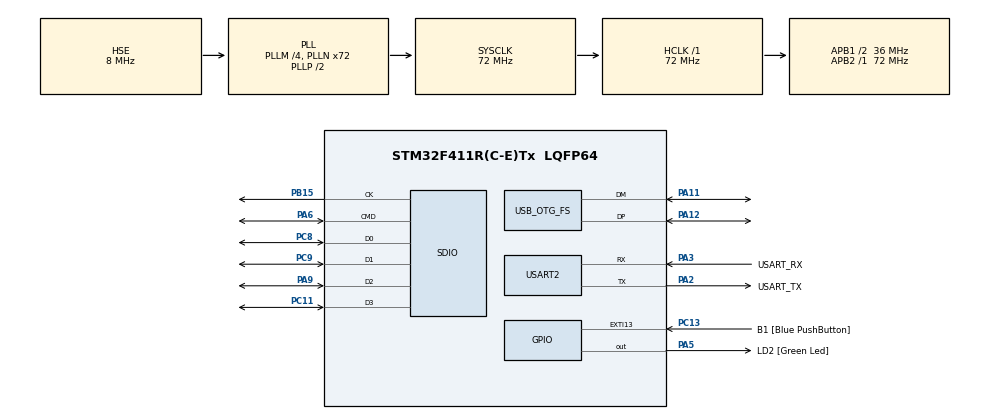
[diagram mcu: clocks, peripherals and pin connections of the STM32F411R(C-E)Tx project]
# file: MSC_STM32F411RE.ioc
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Dma.Request0=USART2_RX
Dma.Request1=USART2_TX
Dma.Request2=SDIO_RX
Dma.Request3=SDIO_TX
Dma.SDIO_RX.2.Direction=DMA_PERIPH_TO_MEMORY
Dma.SDIO_RX.2.FIFOMode=DMA_FIFOMODE_ENABLE
Dma.SDIO_RX.2.FIFOThreshold=DMA_FIFO_THRESHOLD_FULL
Dma.SDIO_RX.2.Instance=DMA2_Stream3
Dma.SDIO_RX.2.MemBurst=DMA_MBURST_INC4
Dma.SDIO_RX.2.MemDataAlignment=DMA_MDATAALIGN_WORD
Dma.SDIO_RX.2.MemInc=DMA_MINC_ENABLE
Dma.SDIO_RX.2.Mode=DMA_PFCTRL
Dma.SDIO_RX.2.PeriphBurst=DMA_PBURST_INC4
Dma.SDIO_RX.2.PeriphDataAlignment=DMA_PDATAALIGN_WORD
Dma.SDIO_RX.2.PeriphInc=DMA_PINC_DISABLE
Dma.SDIO_RX.2.Priority=DMA_PRIORITY_VERY_HIGH
Dma.SDIO_TX.3.Direction=DMA_MEMORY_TO_PERIPH
Dma.SDIO_TX.3.FIFOMode=DMA_FIFOMODE_ENABLE
Dma.SDIO_TX.3.FIFOThreshold=DMA_FIFO_THRESHOLD_FULL
Dma.SDIO_TX.3.Instance=DMA2_Stream6
Dma.SDIO_TX.3.MemBurst=DMA_MBURST_INC4
Dma.SDIO_TX.3.MemDataAlignment=DMA_MDATAALIGN_WORD
Dma.SDIO_TX.3.MemInc=DMA_MINC_ENABLE
Dma.SDIO_TX.3.Mode=DMA_PFCTRL
Dma.SDIO_TX.3.PeriphBurst=DMA_PBURST_INC4
Dma.SDIO_TX.3.PeriphDataAlignment=DMA_PDATAALIGN_WORD
Dma.SDIO_TX.3.PeriphInc=DMA_PINC_DISABLE
Dma.SDIO_TX.3.Priority=DMA_PRIORITY_VERY_HIGH
Dma.USART2_RX.0.Direction=DMA_PERIPH_TO_MEMORY
Dma.USART2_RX.0.FIFOMode=DMA_FIFOMODE_DISABLE
Dma.USART2_RX.0.Instance=DMA1_Stream5
Dma.USART2_RX.0.MemDataAlignment=DMA_MDATAALIGN_BYTE
Dma.USART2_RX.0.MemInc=DMA_MINC_ENABLE
Dma.USART2_RX.0.Mode=DMA_CIRCULAR
Dma.USART2_RX.0.PeriphDataAlignment=DMA_PDATAALIGN_BYTE
Dma.USART2_RX.0.PeriphInc=DMA_PINC_DISABLE
Dma.USART2_RX.0.Priority=DMA_PRIORITY_LOW
Dma.USART2_TX.1.Direction=DMA_MEMORY_TO_PERIPH
Dma.USART2_TX.1.FIFOMode=DMA_FIFOMODE_DISABLE
Dma.USART2_TX.1.Instance=DMA1_Stream6
Dma.USART2_TX.1.MemDataAlignment=DMA_MDATAALIGN_BYTE
Dma.USART2_TX.1.MemInc=DMA_MINC_ENABLE
Dma.USART2_TX.1.Mode=DMA_NORMAL
Dma.USART2_TX.1.PeriphDataAlignment=DMA_PDATAALIGN_BYTE
Dma.USART2_TX.1.PeriphInc=DMA_PINC_DISABLE
Dma.USART2_TX.1.Priority=DMA_PRIORITY_LOW
Mcu.Family=STM32F4
Mcu.Name=STM32F411R(C-E)Tx
Mcu.Package=LQFP64
NVIC.DMA1_Stream5_IRQn=true\:0\:0\:false\:false\:true\:false\:true\:true
NVIC.DMA1_Stream6_IRQn=true\:0\:0\:false\:false\:true\:false\:true\:true
NVIC.DMA2_Stream3_IRQn=true\:0\:4\:false\:false\:true\:false\:true\:true
NVIC.DMA2_Stream6_IRQn=true\:0\:5\:false\:false\:true\:false\:true\:true
NVIC.EXTI15_10_IRQn=true\:0\:0\:false\:false\:true\:true\:true\:true
NVIC.OTG_FS_IRQn=true\:0\:6\:true\:false\:true\:true\:true\:true
NVIC.PriorityGroup=NVIC_PRIORITYGROUP_0
NVIC.SDIO_IRQn=true\:0\:3\:false\:false\:true\:true\:true\:true
NVIC.TIM1_TRG_COM_TIM11_IRQn=true\:0\:0\:false\:false\:true\:true\:true\:true
NVIC.USART2_IRQn=true\:0\:0\:false\:false\:true\:true\:true\:true
PA11.Mode=Device_Only
PA11.Signal=USB_OTG_FS_DM
PA12.Mode=Device_Only
PA12.Signal=USB_OTG_FS_DP
PA13.GPIO_Label=TMS
PA13.Mode=Serial_Wire
PA13.Signal=SYS_JTMS-SWDIO
PA14.GPIO_Label=TCK
PA14.Mode=Serial_Wire
PA14.Signal=SYS_JTCK-SWCLK
PA2.GPIO_Label=USART_TX
PA2.Mode=Asynchronous
PA2.Signal=USART2_TX
PA3.GPIO_Label=USART_RX
PA3.Mode=Asynchronous
PA3.Signal=USART2_RX
PA5.GPIO_Label=LD2 [Green Led]
PA5.Signal=GPIO_Output
PA6.Mode=SD_4_bits_Wide_bus
PA6.Signal=SDIO_CMD
PA9.Mode=SD_4_bits_Wide_bus
PA9.Signal=SDIO_D2
PB15.Mode=SD_4_bits_Wide_bus
PB15.Signal=SDIO_CK
PB3.GPIO_Label=SWO
PB3.Signal=SYS_JTDO-SWO
PC11.Mode=SD_4_bits_Wide_bus
PC11.Signal=SDIO_D3
PC13-ANTI_TAMP.GPIO_Label=B1 [Blue PushButton]
PC13-ANTI_TAMP.GPIO_ModeDefaultEXTI=GPIO_MODE_IT_FALLING
PC13-ANTI_TAMP.Signal=GPXTI13
PC14-OSC32_IN.Mode=LSE-External-Oscillator
PC14-OSC32_IN.Signal=RCC_OSC32_IN
PC15-OSC32_OUT.Mode=LSE-External-Oscillator
PC15-OSC32_OUT.Signal=RCC_OSC32_OUT
PC8.Mode=SD_4_bits_Wide_bus
PC8.Signal=SDIO_D0
PC9.Mode=SD_4_bits_Wide_bus
PC9.Signal=SDIO_D1
PH0\ -\ OSC_IN.Mode=HSE-External-Clock-Source
PH0\ -\ OSC_IN.Signal=RCC_OSC_IN
PH1\ -\ OSC_OUT.Mode=HSE-External-Clock-Source
PH1\ -\ OSC_OUT.Signal=RCC_OSC_OUT
ProjectManager.HeapSize=0x1000
ProjectManager.StackSize=0x1000
ProjectManager.TargetToolchain=STM32CubeIDE
RCC.48MHZClocksFreq_Value=48000000
RCC.AHBFreq_Value=72000000
RCC.APB1CLKDivider=RCC_HCLK_DIV2
RCC.APB1Freq_Value=36000000
RCC.APB1TimFreq_Value=72000000
RCC.APB2Freq_Value=72000000
RCC.APB2TimFreq_Value=72000000
RCC.CortexFreq_Value=72000000
RCC.FLatency-AdvancedSettings=FLASH_LATENCY_2
RCC.HCLKFreq_Value=72000000
RCC.HSE_VALUE=8000000
RCC.HSI_VALUE=16000000
RCC.PLLM=4
RCC.PLLN=72
RCC.PLLQ=3
RCC.SYSCLKFreq_VALUE=72000000
RCC.SYSCLKSource=RCC_SYSCLKSOURCE_PLLCLK
RCC.VCOOutputFreq_Value=144000000
SDIO.ClockDiv=20
SDIO.ClockPowerSave=SDIO_CLOCK_POWER_SAVE_DISABLE
SDIO.HardwareFlowControl=SDIO_HARDWARE_FLOW_CONTROL_DISABLE
TIM10.Channel=TIM_CHANNEL_1
TIM10.Prescaler=72-1
TIM11.Channel=TIM_CHANNEL_1
TIM11.Period=10000-1
TIM11.Prescaler=7200-1
USART2.VirtualMode=VM_ASYNC
USB_OTG_FS.VirtualMode=Device_Only
USB_OTG_FS.lpm_enable=DISABLE
VP_TIM10_VS_ClockSourceINT.Mode=Enable_Timer
VP_TIM10_VS_no_output1.Mode=Output Compare1 No Output
VP_TIM11_VS_ClockSourceINT.Mode=Enable_Timer
VP_TIM11_VS_no_output1.Mode=Output Compare1 No Output
board=NUCLEO-F411RE

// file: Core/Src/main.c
/* USER CODE BEGIN Header */
/**
 ******************************************************************************
 * @file           : main.c
 * @brief          : Main program body
 ******************************************************************************
 * @attention
 *
 * Copyright (c) 2025 STMicroelectronics.
 * All rights reserved.
 *
 * This software is licensed under terms that can be found in the LICENSE file
 * in the root directory of this software component.
 * If no LICENSE file comes with this software, it is provided AS-IS.
 *
 ******************************************************************************
 */
/* USER CODE END Header */
#include "main.h"

/* USER CODE BEGIN Includes */
#include <string.h>
#include <stdbool.h>
#include <stdio.h>

#include <tusb.h>
#include <buffer_event.h>
/* USER CODE END Includes */

SD_HandleTypeDef hsd;
DMA_HandleTypeDef hdma_sdio_rx;
DMA_HandleTypeDef hdma_sdio_tx;

TIM_HandleTypeDef htim10;
TIM_HandleTypeDef htim11;

UART_HandleTypeDef huart2;
DMA_HandleTypeDef hdma_usart2_rx;
DMA_HandleTypeDef hdma_usart2_tx;

PCD_HandleTypeDef hpcd_USB_OTG_FS;

/* USER CODE BEGIN PV */
#define WINDOW_ARR (5000 - 1)
#define LINUX_ARR (1000 - 1)
#define EMERG_ARR (500 - 1)

volatile uint8_t g_usb_mode = USB_MODE_MSC_VENDOR;
volatile bool usb_ready = true;

char msg_dma[512];

/* USER CODE END PV */

void SystemClock_Config(void);
static void MX_GPIO_Init(void);
static void MX_DMA_Init(void);
static void MX_USART2_UART_Init(void);
static void MX_USB_OTG_FS_PCD_Init(void);
static void MX_TIM11_Init(void);
static void MX_SDIO_SD_Init(void);
static void MX_TIM10_Init(void);
/* USER CODE BEGIN PFP */
extern void init_disk_data();
/* USER CODE END PFP */

/* USER CODE BEGIN 0 */

int _write(int file, char *ptr, int len) {
	(void) file;
	HAL_UART_Transmit(&huart2, (uint8_t*) ptr, len, HAL_MAX_DELAY);
	return len;
}

void HAL_TIM_OC_DelayElapsedCallback(TIM_HandleTypeDef *htim) {
	if (usb_ready) {
		HAL_GPIO_TogglePin(GPIOA, GPIO_PIN_5);
	}
}

void HAL_GPIO_EXTI_Callback(uint16_t GPIO_Pin) {
	usb_ready = false;

	switch (g_usb_mode) {
	case USB_MODE_CDC:
		__HAL_TIM_SET_AUTORELOAD(&htim11, LINUX_ARR);
		g_usb_mode = USB_MODE_MSC_VENDOR;
		break;
	case USB_MODE_MSC_VENDOR:
		__HAL_TIM_SET_AUTORELOAD(&htim11, WINDOW_ARR);
		g_usb_mode = USB_MODE_HID_MSC;
		break;
	case USB_MODE_HID_MSC:
		__HAL_TIM_SET_AUTORELOAD(&htim11, EMERG_ARR);
		g_usb_mode = USB_MODE_CDC;
		break;
	}
}

void mod_change_watchdog() {
	if (!usb_ready) {
		tud_disconnect();
		HAL_Delay(500);
		tud_connect();

		usb_ready = true;
	}
}

void cdc_task(void) {
	// 2. PC와 연결되어 있는지 확인 (DTR 신호 체크)
	if (tud_cdc_connected()) {
		// 3. 읽을 데이터가 있는지 확인
		if (tud_cdc_available()) {
			// 데이터 읽기
			uint32_t count = tud_cdc_read(msg_dma, sizeof(msg_dma));

			HAL_UART_Transmit_DMA(&huart2, (uint8_t*) msg_dma, count);
		}
	}
}

void Test_func(void){
	printf("This is test_func\n");

	ven_send();
	return;
}

// full or half -> callback -> buffer fill twice
#define BUF_SIZE 1024

uint8_t is_fulled = 0;
uint8_t is_halfed = 0;

uint8_t recv_buf[BUF_SIZE] = {0};
uint8_t recv_val[BUF_SIZE] = {0};
uint16_t uart_h = 0;

void HAL_UARTEx_RxEventCallback(UART_HandleTypeDef *huart, uint16_t Size)
{
    // Size는 buf 0부터 현재까지 수신된 데이터의 개수
	if(!is_halfed && (Size == BUF_SIZE/2)){
		is_halfed = 1;
		return;
	}

	if(!is_fulled && (Size == BUF_SIZE)){
		is_fulled = 1;
		return;
	}

	is_halfed = 0;
	is_fulled = 0;

	memset(recv_val, 0, BUF_SIZE);
	uint16_t tmp = 0;

	printf("1: %d-%d %s\n", Size, uart_h, recv_val);

	if(Size < uart_h){ // ring buffer overwrite
		while(uart_h < BUF_SIZE){
			recv_val[tmp++] = recv_buf[uart_h++];
		}
		uart_h = 0;
	}

	while(uart_h < Size){
		recv_val[tmp++] = recv_buf[uart_h++];
	}
	recv_val[tmp] = '\0';

	printf("2: %d-%d %s\n", Size, uart_h, recv_val);
	if(g_usb_mode == USB_MODE_CDC){
		tud_cdc_write(recv_val, sizeof(recv_val));
	}
}

void test_watchdog(void){
	if(recv_val[0] == 't'){
		Test_func();
		recv_val[0] = '\0';
	}
}
/* USER CODE END 0 */

int main(void)
{

  /* MCU Configuration--------------------------------------------------------*/

  /* Reset of all peripherals, Initializes the Flash interface and the Systick. */
  HAL_Init();

  /* Configure the system clock */
  SystemClock_Config();

  /* Initialize all configured peripherals */
  MX_GPIO_Init();
  MX_DMA_Init();
  MX_USART2_UART_Init();
  MX_USB_OTG_FS_PCD_Init();
  MX_TIM11_Init();
  MX_SDIO_SD_Init();
  MX_TIM10_Init();
  /* USER CODE BEGIN 2 */
	SD_Init();
#ifndef WITHOUT_TUD
	tusb_init();
//	init_disk_data();
#endif // WITHOUT_TUD
	HAL_TIM_OC_Start(&htim10, TIM_CHANNEL_1);
	HAL_TIM_OC_Start_IT(&htim11, TIM_CHANNEL_1);
	HAL_UARTEx_ReceiveToIdle_DMA(&huart2, recv_buf, BUF_SIZE);

	g_usb_mode = USB_MODE_MSC_VENDOR;
	__HAL_TIM_SET_AUTORELOAD(&htim11, LINUX_ARR);
//	SD_Test();
  /* USER CODE END 2 */

  /* Infinite loop */
  /* USER CODE BEGIN WHILE */
	while (1) {
#ifndef WITHOUT_TUD
		tud_task();
#endif // WITHOUT_TUD
		mod_change_watchdog();
		test_watchdog();

		switch (g_usb_mode) {
		case USB_MODE_CDC:
			cdc_task();
			break;
		case USB_MODE_MSC_VENDOR:
			break;
		case USB_MODE_HID_MSC:
//			hid_task();
			break;
		}
		// 3연속의 while 구조?
    /* USER CODE END WHILE */

	}
}

void SystemClock_Config(void)
{
  RCC_OscInitTypeDef RCC_OscInitStruct = {0};
  RCC_ClkInitTypeDef RCC_ClkInitStruct = {0};

  /** Configure the main internal regulator output voltage
  */
  __HAL_RCC_PWR_CLK_ENABLE();
  __HAL_PWR_VOLTAGESCALING_CONFIG(PWR_REGULATOR_VOLTAGE_SCALE1);

  /** Initializes the RCC Oscillators according to the specified parameters
  * in the RCC_OscInitTypeDef structure.
  */
  RCC_OscInitStruct.OscillatorType = RCC_OSCILLATORTYPE_HSE;
  RCC_OscInitStruct.HSEState = RCC_HSE_BYPASS;
  RCC_OscInitStruct.PLL.PLLState = RCC_PLL_ON;
  RCC_OscInitStruct.PLL.PLLSource = RCC_PLLSOURCE_HSE;
  RCC_OscInitStruct.PLL.PLLM = 4;
  RCC_OscInitStruct.PLL.PLLN = 72;
  RCC_OscInitStruct.PLL.PLLP = RCC_PLLP_DIV2;
  RCC_OscInitStruct.PLL.PLLQ = 3;
  if (HAL_RCC_OscConfig(&RCC_OscInitStruct) != HAL_OK)
  {
    Error_Handler();
  }

  /** Initializes the CPU, AHB and APB buses clocks
  */
  RCC_ClkInitStruct.ClockType = RCC_CLOCKTYPE_HCLK|RCC_CLOCKTYPE_SYSCLK
                              |RCC_CLOCKTYPE_PCLK1|RCC_CLOCKTYPE_PCLK2;
  RCC_ClkInitStruct.SYSCLKSource = RCC_SYSCLKSOURCE_PLLCLK;
  RCC_ClkInitStruct.AHBCLKDivider = RCC_SYSCLK_DIV1;
  RCC_ClkInitStruct.APB1CLKDivider = RCC_HCLK_DIV2;
  RCC_ClkInitStruct.APB2CLKDivider = RCC_HCLK_DIV1;

  if (HAL_RCC_ClockConfig(&RCC_ClkInitStruct, FLASH_LATENCY_2) != HAL_OK)
  {
    Error_Handler();
  }
}

static void MX_SDIO_SD_Init(void)
{

  hsd.Instance = SDIO;
  hsd.Init.ClockEdge = SDIO_CLOCK_EDGE_RISING;
  hsd.Init.ClockBypass = SDIO_CLOCK_BYPASS_DISABLE;
  hsd.Init.ClockPowerSave = SDIO_CLOCK_POWER_SAVE_DISABLE;
  hsd.Init.BusWide = SDIO_BUS_WIDE_1B;
  hsd.Init.HardwareFlowControl = SDIO_HARDWARE_FLOW_CONTROL_DISABLE;
  hsd.Init.ClockDiv = 20;
  if (HAL_SD_Init(&hsd) != HAL_OK)
  {
    Error_Handler();
  }
  if (HAL_SD_ConfigWideBusOperation(&hsd, SDIO_BUS_WIDE_4B) != HAL_OK)
  {
    Error_Handler();
  }

}

static void MX_TIM10_Init(void)
{

  TIM_OC_InitTypeDef sConfigOC = {0};

  htim10.Instance = TIM10;
  htim10.Init.Prescaler = 72-1;
  htim10.Init.CounterMode = TIM_COUNTERMODE_UP;
  htim10.Init.Period = 65535;
  htim10.Init.ClockDivision = TIM_CLOCKDIVISION_DIV1;
  htim10.Init.AutoReloadPreload = TIM_AUTORELOAD_PRELOAD_DISABLE;
  if (HAL_TIM_Base_Init(&htim10) != HAL_OK)
  {
    Error_Handler();
  }
  if (HAL_TIM_OC_Init(&htim10) != HAL_OK)
  {
    Error_Handler();
  }
  sConfigOC.OCMode = TIM_OCMODE_TIMING;
  sConfigOC.Pulse = 0;
  sConfigOC.OCPolarity = TIM_OCPOLARITY_HIGH;
  sConfigOC.OCFastMode = TIM_OCFAST_DISABLE;
  if (HAL_TIM_OC_ConfigChannel(&htim10, &sConfigOC, TIM_CHANNEL_1) != HAL_OK)
  {
    Error_Handler();
  }

}

static void MX_TIM11_Init(void)
{

  TIM_OC_InitTypeDef sConfigOC = {0};

  htim11.Instance = TIM11;
  htim11.Init.Prescaler = 7200-1;
  htim11.Init.CounterMode = TIM_COUNTERMODE_UP;
  htim11.Init.Period = 10000-1;
  htim11.Init.ClockDivision = TIM_CLOCKDIVISION_DIV1;
  htim11.Init.AutoReloadPreload = TIM_AUTORELOAD_PRELOAD_DISABLE;
  if (HAL_TIM_Base_Init(&htim11) != HAL_OK)
  {
    Error_Handler();
  }
  if (HAL_TIM_OC_Init(&htim11) != HAL_OK)
  {
    Error_Handler();
  }
  sConfigOC.OCMode = TIM_OCMODE_TIMING;
  sConfigOC.Pulse = 0;
  sConfigOC.OCPolarity = TIM_OCPOLARITY_HIGH;
  sConfigOC.OCFastMode = TIM_OCFAST_DISABLE;
  if (HAL_TIM_OC_ConfigChannel(&htim11, &sConfigOC, TIM_CHANNEL_1) != HAL_OK)
  {
    Error_Handler();
  }

}

static void MX_USART2_UART_Init(void)
{

  huart2.Instance = USART2;
  huart2.Init.BaudRate = 115200;
  huart2.Init.WordLength = UART_WORDLENGTH_8B;
  huart2.Init.StopBits = UART_STOPBITS_1;
  huart2.Init.Parity = UART_PARITY_NONE;
  huart2.Init.Mode = UART_MODE_TX_RX;
  huart2.Init.HwFlowCtl = UART_HWCONTROL_NONE;
  huart2.Init.OverSampling = UART_OVERSAMPLING_16;
  if (HAL_UART_Init(&huart2) != HAL_OK)
  {
    Error_Handler();
  }

}

static void MX_USB_OTG_FS_PCD_Init(void)
{

  hpcd_USB_OTG_FS.Instance = USB_OTG_FS;
  hpcd_USB_OTG_FS.Init.dev_endpoints = 4;
  hpcd_USB_OTG_FS.Init.speed = PCD_SPEED_FULL;
  hpcd_USB_OTG_FS.Init.dma_enable = DISABLE;
  hpcd_USB_OTG_FS.Init.phy_itface = PCD_PHY_EMBEDDED;
  hpcd_USB_OTG_FS.Init.Sof_enable = DISABLE;
  hpcd_USB_OTG_FS.Init.low_power_enable = DISABLE;
  hpcd_USB_OTG_FS.Init.lpm_enable = DISABLE;
  hpcd_USB_OTG_FS.Init.vbus_sensing_enable = DISABLE;
  hpcd_USB_OTG_FS.Init.use_dedicated_ep1 = DISABLE;
  if (HAL_PCD_Init(&hpcd_USB_OTG_FS) != HAL_OK)
  {
    Error_Handler();
  }

}

static void MX_DMA_Init(void)
{

  /* DMA controller clock enable */
  __HAL_RCC_DMA1_CLK_ENABLE();
  __HAL_RCC_DMA2_CLK_ENABLE();

  /* DMA interrupt init */
  /* DMA1_Stream5_IRQn interrupt configuration */
  HAL_NVIC_SetPriority(DMA1_Stream5_IRQn, 0, 0);
  HAL_NVIC_EnableIRQ(DMA1_Stream5_IRQn);
  /* DMA1_Stream6_IRQn interrupt configuration */
  HAL_NVIC_SetPriority(DMA1_Stream6_IRQn, 0, 0);
  HAL_NVIC_EnableIRQ(DMA1_Stream6_IRQn);
  /* DMA2_Stream3_IRQn interrupt configuration */
  HAL_NVIC_SetPriority(DMA2_Stream3_IRQn, 0, 4);
  HAL_NVIC_EnableIRQ(DMA2_Stream3_IRQn);
  /* DMA2_Stream6_IRQn interrupt configuration */
  HAL_NVIC_SetPriority(DMA2_Stream6_IRQn, 0, 5);
  HAL_NVIC_EnableIRQ(DMA2_Stream6_IRQn);

}

static void MX_GPIO_Init(void)
{
  GPIO_InitTypeDef GPIO_InitStruct = {0};

  /* GPIO Ports Clock Enable */
  __HAL_RCC_GPIOC_CLK_ENABLE();
  __HAL_RCC_GPIOH_CLK_ENABLE();
  __HAL_RCC_GPIOA_CLK_ENABLE();
  __HAL_RCC_GPIOB_CLK_ENABLE();

  /*Configure GPIO pin Output Level */
  HAL_GPIO_WritePin(LD2_GPIO_Port, LD2_Pin, GPIO_PIN_RESET);

  /*Configure GPIO pin : B1_Pin */
  GPIO_InitStruct.Pin = B1_Pin;
  GPIO_InitStruct.Mode = GPIO_MODE_IT_FALLING;
  GPIO_InitStruct.Pull = GPIO_NOPULL;
  HAL_GPIO_Init(B1_GPIO_Port, &GPIO_InitStruct);

  /*Configure GPIO pin : LD2_Pin */
  GPIO_InitStruct.Pin = LD2_Pin;
  GPIO_InitStruct.Mode = GPIO_MODE_OUTPUT_PP;
  GPIO_InitStruct.Pull = GPIO_NOPULL;
  GPIO_InitStruct.Speed = GPIO_SPEED_FREQ_LOW;
  HAL_GPIO_Init(LD2_GPIO_Port, &GPIO_InitStruct);

  /* EXTI interrupt init*/
  HAL_NVIC_SetPriority(EXTI15_10_IRQn, 0, 0);
  HAL_NVIC_EnableIRQ(EXTI15_10_IRQn);

}

void Error_Handler(void)
{
  /* USER CODE BEGIN Error_Handler_Debug */
	/* User can add his own implementation to report the HAL error return state */
	__disable_irq();
	while (1) {
		printf("in error handler\n");
	}
  /* USER CODE END Error_Handler_Debug */
}
